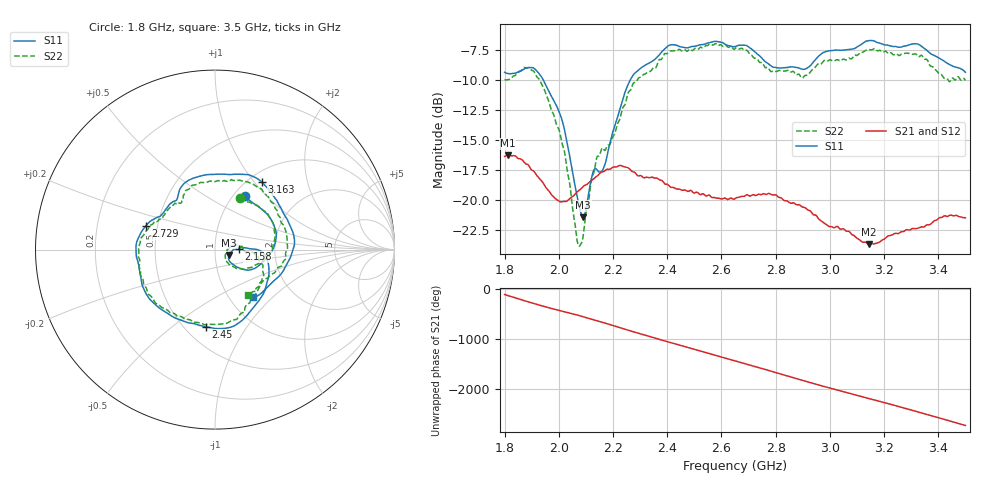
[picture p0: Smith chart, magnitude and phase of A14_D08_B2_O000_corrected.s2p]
! Created with skrf 1.9.0 (http://scikit-rf.org).
# Hz S RI R 50.0
!freq ReS11 ImS11 ReS21 ImS21 ReS12 ImS12 ReS22 ImS22
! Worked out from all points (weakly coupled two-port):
!   1601 points, 1.8 GHz to 3.5 GHz, reference 50 ohm
!   highest |S21| = -16.31 dB at 1.812 GHz (marker M1); lowest = -23.7 dB at 3.143 GHz (marker M2)
!   lowest |S11| = -21.4 dB at 2.09 GHz (marker M3), VSWR 1.18, Z = 58.5 - j3.58 ohm
!   |S11| at or under -10 dB: 1.942 GHz to 2.264 GHz (322 MHz wide, 15.3 % of centre)
!   |S22| runs from -23.9 to -7.0 dB; largest |S21 - S12| = 0.003
!   S11 on the Smith chart (normalised r, x): 1.8 GHz: 1.13, +0.76; 2.158 GHz: 1.30, +0.01; 2.45 GHz: 0.63, -0.67; 2.729 GHz: 0.43, +0.14; 3.163 GHz: 1.15, +1.10; 3.5 GHz: 1.27, -0.77
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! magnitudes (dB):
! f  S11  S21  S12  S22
! 1.8 GHz  -9.4  -16.4  -16.4  -10.0
! 1.812 GHz  -9.5  -16.3  -16.3  -10.0
! 1.886 GHz  -9.0  -17.1  -17.1  -9.0
! 1.94 GHz  -9.9  -18.5  -18.5  -10.5
! 2.013 GHz  -13.4  -20.1  -20.2  -15.4
! 2.067 GHz  -19.6  -19.4  -19.4  -23.3
! 2.084 GHz  -21.3  -19.0  -19.0  -23.6
! 2.09 GHz  -21.4  -18.9  -18.9  -23.0
! 2.127 GHz  -17.6  -18.3  -18.3  -17.9
! 2.158 GHz  -17.7  -17.7  -17.7  -15.8
! 2.261 GHz  -10.1  -17.4  -17.5  -10.9
! 2.367 GHz  -8.0  -18.3  -18.2  -8.5
! 2.45 GHz  -7.3  -19.2  -19.2  -7.6
! 2.65 GHz  -7.2  -19.9  -19.9  -7.4
! 2.729 GHz  -7.8  -19.6  -19.7  -8.2
! 2.798 GHz  -9.0  -19.6  -19.6  -9.3
! 2.934 GHz  -8.7  -21.1  -21.1  -9.2
! 3.143 GHz  -6.8  -23.7  -23.6  -7.5
! 3.163 GHz  -6.8  -23.7  -23.6  -7.4
! 3.217 GHz  -7.2  -23.0  -23.0  -7.8
! 3.326 GHz  -7.0  -22.4  -22.3  -8.1
! 3.5 GHz  -9.4  -21.5  -21.5  -10.1
